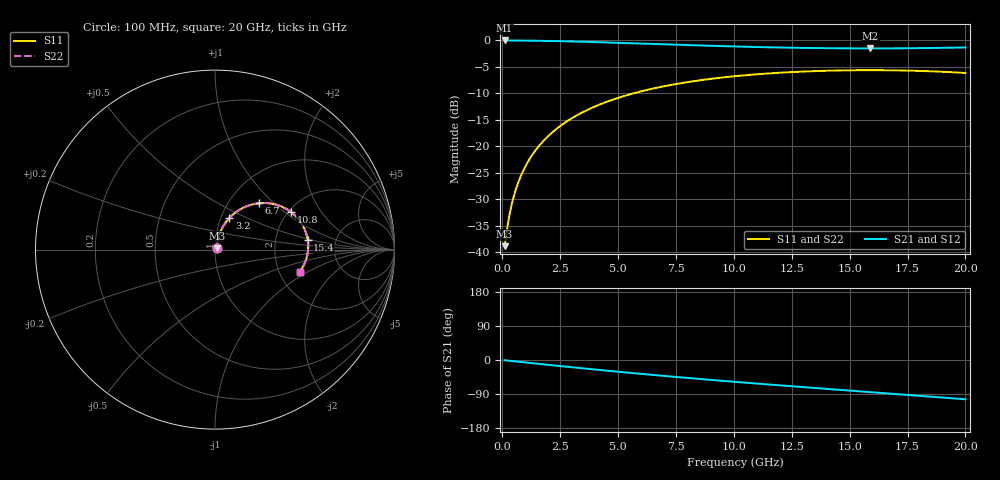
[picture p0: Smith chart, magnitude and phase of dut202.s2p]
! Touchstone file exported from HFSS 2026.1.0
!  File:  C:/ffzhzh/LocalFiles/Ansys_Project_Files/temp_train_TSV_RDL_202_1783060489_17544.aedt
!  Generated:  02:47:09 PM Jul  3, 2026
!  Design:  TSV_RDL
!  Project:  temp_train_TSV_RDL_202_1783060489_17544
! Variables:
!  h_bsmrdl = 4.1um
!  h_ox = 20um
!  h_rdl = 5um
!  h_sub = 75.62um
!  h_tmrdl = 5.74um
!  h_tsv = 75.62um
!  h_via = 3um
!  l_bsmrdl = 129.79um
!  l_sub = 1674.14um
!  l_tmrdl = 190.39um
!  m_sub = 200um
!  pitch = 45.76um
!  r_tsv = 4.27um
!  s_tmrdl = 10um
!  w_bsmrdl = 29.42um
!  w_sub = 500um
!  w_tmrdl = 11.65um
!  x_tsv_center1 = 196.215um
!  x_tsv_center2 = 355.425um
!  x_tsv_center3 = 557.465um
!  x_tsv_center4 = 716.675um
!  x_tsv_center5 = 918.715um
!  x_tsv_center6 = 1077.925um
# GHz S MA R 50.000000
! Terminal data exported
! Port[1] = TM_RDL1_1_T1
! Port[2] = TM_RDL5_1_T1
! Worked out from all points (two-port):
!   200 points, 100 MHz to 20 GHz, reference 50 ohm
!   highest |S21| = -0.08 dB at 100 MHz (marker M1); lowest = -1.6 dB at 15.9 GHz (marker M2)
!   |S21| within 3 dB of the highest: start of sweep to end of sweep
!   lowest |S11| = -38.9 dB at 100 MHz (marker M3), VSWR 1.02, Z = 50.9 + j0.668 ohm
!   |S11| at or under -10 dB: start of sweep to 5.71 GHz
!   |S22| runs from -38.9 to -5.7 dB; largest |S21 - S12| = 8.2e-15
!   S11 on the Smith chart (normalised r, x): 100 MHz: 1.02, +0.01; 3.2 GHz: 1.10, +0.40; 6.7 GHz: 1.37, +0.81; 10.8 GHz: 2.06, +1.11; 15.4 GHz: 3.09, +0.45; 20 GHz: 2.60, -0.84
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0.1  0.01139 35.2  0.9907 -0.7  0.9907 -0.7  0.01139 35.2
! Gamma 0 0 0 0
! Port Impedance 50 0 50 0
0.2  0.01624 53.1  0.9905 -1.3  0.9905 -1.3  0.01624 53.1
0.3  0.02188 61.8  0.9901 -2.0  0.9901 -2.0  0.02188 61.8
0.5  0.03379 69.5  0.9895 -3.3  0.9895 -3.3  0.03379 69.5
0.7  0.04599 72.5  0.9888 -4.6  0.9888 -4.6  0.04599 72.5
1  0.06445 74.0  0.9874 -6.5  0.9874 -6.5  0.06445 74.0
1.4  0.08902 73.8  0.985 -9.1  0.985 -9.1  0.08902 73.8
1.9  0.1193 72.0  0.9811 -12.2  0.9811 -12.2  0.1193 72.0
2.5  0.1545 69.2  0.9751 -16.0  0.9751 -16.0  0.1545 69.2
3.2  0.1939 65.5  0.9668 -20.3  0.9668 -20.3  0.1939 65.5
3.5  0.2101 63.8  0.9629 -22.1  0.9629 -22.1  0.2101 63.8
4.9  0.2801 56.1  0.9428 -30.4  0.9428 -30.4  0.2801 56.1
6.7  0.356 46.5  0.9152 -40.5  0.9152 -40.5  0.356 46.5
6.8  0.3597 46.0  0.9137 -41.0  0.9137 -41.0  0.3597 46.0
8.4  0.4133 37.9  0.8903 -49.4  0.8903 -49.4  0.4132 37.9
10.1  0.4573 29.7  0.8685 -57.9  0.8685 -57.9  0.4573 29.7
10.8  0.4718 26.4  0.8609 -61.3  0.8609 -61.3  0.4718 26.4
13.4  0.5085 14.7  0.8404 -73.4  0.8404 -73.4  0.5085 14.7
15.4  0.5194 5.9  0.8339 -82.5  0.8339 -82.5  0.5194 5.9
15.9  0.5199 3.7  0.8337 -84.8  0.8337 -84.8  0.5199 3.7
16.7  0.5187 0.2  0.8343 -88.4  0.8343 -88.4  0.5187 0.2
20  0.4889 -14.5  0.851 -103.6  0.851 -103.6  0.4889 -14.5
